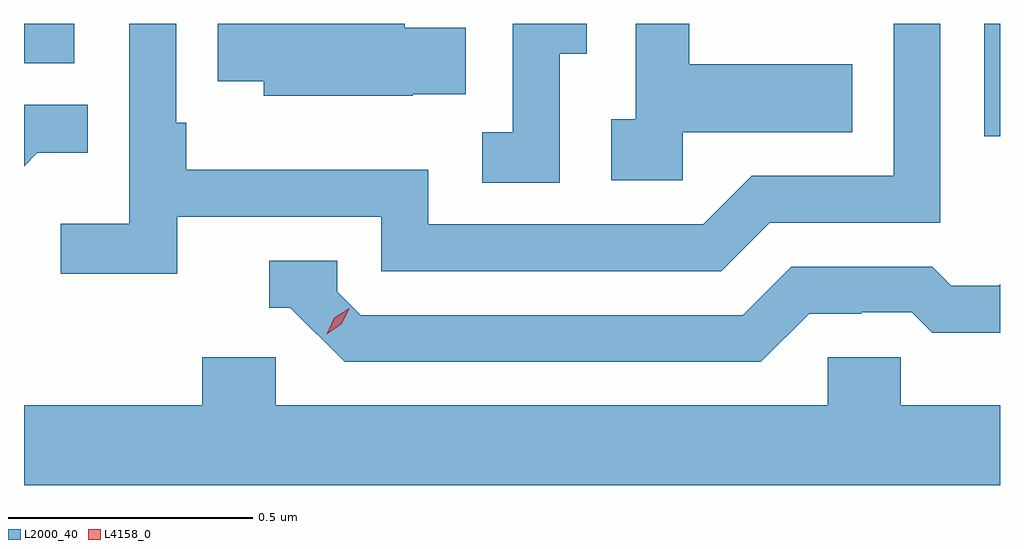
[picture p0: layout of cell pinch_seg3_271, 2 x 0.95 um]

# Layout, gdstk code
import gdstk
lib = gdstk.Library(unit=1e-6, precision=1e-09)
def R(c, l, rs):  # rectangles x0, y0, x1, y1
    for r in rs: c.add(gdstk.rectangle(r[:2], r[2:], *l))
def P(c, l, *ps):  # polygons
    for p in ps: c.add(gdstk.Polygon(p, *l))
L2000_40 = (2000, 40)
L4158_0 = (4158, 0)

pinch_seg3_271 = lib.new_cell('pinch_seg3_271')
R(pinch_seg3_271, L2000_40, [(915.27,709.623,915.302,709.854), (913.302,709.773,913.405,709.854)])
P(pinch_seg3_271, L2000_40, [(914.4,709.792),(914.455,709.792),(914.455,709.854),(914.304,709.854),(914.304,709.631),(914.241,709.631),(914.241,709.528),(914.4,709.528)],
  [(913.616,709.458),(914.034,709.458),(914.034,709.347),(914.731,709.347),(914.83,709.446),(915.18,709.446),(915.18,709.854),(915.084,709.854),(915.084,709.542),(914.793,709.542),(914.694,709.443),(914.13,709.443),(914.13,709.555),(913.634,709.555),(913.634,709.651),(913.614,709.651),(913.614,709.854),(913.518,709.854),(913.518,709.444),(913.377,709.444),(913.377,709.342),(913.616,709.342)],
  [(914.652,709.631),(914.999,709.631),(914.999,709.771),(914.665,709.771),(914.665,709.854),(914.556,709.854),(914.556,709.658),(914.505,709.658),(914.505,709.533),(914.652,709.533)],
  [(914.099,709.709),(914.207,709.709),(914.207,709.846),(914.082,709.846),(914.082,709.854),(913.699,709.854),(913.699,709.736),(913.793,709.736),(913.793,709.706),(914.099,709.706)],
  [(913.329,709.589),(913.433,709.589),(913.433,709.688),(913.302,709.688),(913.302,709.562)],
  [(914.911,709.26),(915.018,709.26),(915.018,709.263),(915.121,709.263),(915.163,709.221),(915.302,709.221),(915.302,709.32),(915.301,709.32),(915.301,709.317),(915.202,709.317),(915.163,709.356),(914.874,709.356),(914.775,709.257),(913.992,709.257),(913.944,709.305),(913.944,709.368),(913.805,709.368),(913.805,709.272),(913.848,709.272),(913.959,709.161),(914.812,709.161)],
  [(915.302,709.072),(915.099,709.072),(915.099,709.17),(914.949,709.17),(914.949,709.072),(913.818,709.072),(913.818,709.17),(913.667,709.17),(913.667,709.072),(913.302,709.072),(913.302,708.908),(915.302,708.908)])
P(pinch_seg3_271, L4158_0, [(913.922,709.218),(913.922,709.218),(913.938,709.251),(913.968,709.271),(913.968,709.271),(913.968,709.27),(913.952,709.238),(913.922,709.218)])

lib.write_gds('pinch_seg3_271.gds')
